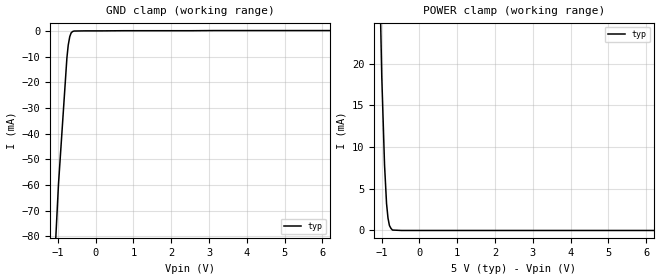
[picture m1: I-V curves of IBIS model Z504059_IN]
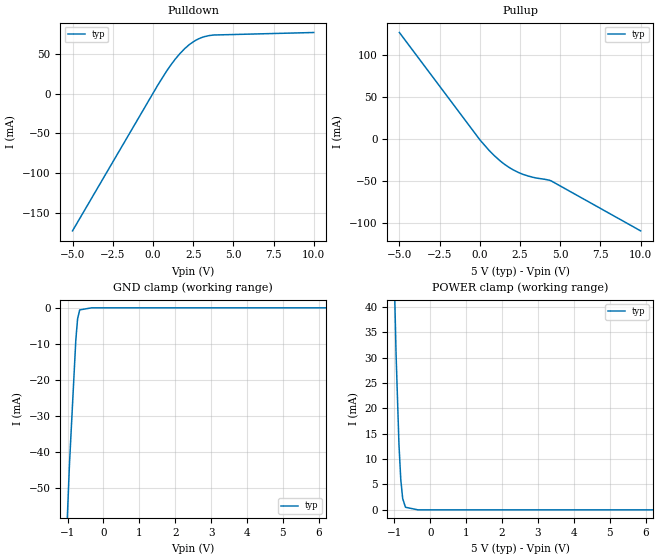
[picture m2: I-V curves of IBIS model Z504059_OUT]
| YOU ARE ONLY AUTHORIZED TO USE THIS SOFTWARE
| ACCORDING TO LICENSOR'S LICENSE RESTRICTIONS.
[IBIS Ver] 3.1
[File Name] mc54hc138aj.ibs
[File Rev] 2.0
[Source] Measured and created by ICX Technology
[Date] Friday 7/14/00 9:08:06 AM
[Copyright]
| (C) COPYRIGHT 1993-2000
| MENTOR GRAPHICS CORPORATION
| ICX STANDARD LIBRARY, ICX PROJECT MODELING,
| ICX CUSTOM MODELING, ICX VENDOR MODEL
| ALL RIGHTS RESERVED.
| THE FOLLOWING ARE TRADEMARKS OR SERVICE MARKS OF
| MENTOR GRAPHICS CORPORATION:ICX (R), ICX STANDARD
| LIBRARY(R), ICX PROJECT MODELING(R), ICX CUSTOM
| MODELING(R), qualityIBIS(TM), MODELVIEWER(TM),
| AND MODELEDITOR(TM)
| ALL COPIES OF SOFTWARE, INCLUDING BUT NOT LIMITED TO
| ANY MODIFICATIONS, ENHANCEMENTS OR DERIVATIVE WORKS,
| MUST CONTAIN ALL MENTOR GRAPHICS CORPORATION'S
| NOTICES AND LEGENDS, INCLUDING THOSE EMBEDDED IN
| SOFTWARE AND THOSE AFFIXED TO SOFTWARE MEDIUM
| AND CONTAINER, AS RECEIVED FROM MENTOR GRAPHICS
| CORPORATION.
|  ZAP Model Builder 2.7
[Component] MC54HC138AJ
[Manufacturer] OnSemiconductor
[Package]
| variable   typ   min   max
R_pkg  .212ohms NA NA
L_pkg  4.758nH NA NA
C_pkg  1.944pF NA NA
[Pin] signal_name  model_name  R_pin  L_pin C_pin
1 A0 Z504059_IN .224 7.258n 2.683p
2 A1 Z504059_IN .216 5.258n 2.19p
3 A2 Z504059_IN .208 3.758n 1.697p
4 CS2 Z504059_IN .2 2.758n 1.204p
5 CS3 Z504059_IN .2 2.758n 1.204p
6 CS1 Z504059_IN .208 3.758n 1.697p
7 Y7 Z504059_OUT .216 5.258n 2.19p
8 GND GND .224 7.258n 2.683p
9 Y6 Z504059_OUT .224 7.258n 2.683p
10 Y5 Z504059_OUT .216 5.258n 2.19p
11 Y4 Z504059_OUT .208 3.758n 1.697p
12 Y3 Z504059_OUT .2 2.758n 1.204p
13 Y2 Z504059_OUT .2 2.758n 1.204p
14 Y1 Z504059_OUT .208 3.758n 1.697p
15 Y0 Z504059_OUT .216 5.258n 2.19p
16 VCC POWER .224 7.258n 2.683p
| Models and submodels in the file (2): Z504059_IN (Input), Z504059_OUT (Output)
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| (C) COPYRIGHT 1993-2000
| MENTOR GRAPHICS CORPORATION
| ICX STANDARD LIBRARY, ICX PROJECT MODELING,
| ICX CUSTOM MODELING, ICX VENDOR MODEL
| ALL RIGHTS RESERVED.
| THE FOLLOWING ARE TRADEMARKS OR SERVICE MARKS OF
| MENTOR GRAPHICS CORPORATION:ICX (R), ICX STANDARD
| LIBRARY(R), ICX PROJECT MODELING(R), ICX CUSTOM
| MODELING(R), qualityIBIS(TM), MODELVIEWER(TM),
| AND MODELEDITOR(TM)
| ALL COPIES OF SOFTWARE, INCLUDING BUT NOT LIMITED TO
| ANY MODIFICATIONS, ENHANCEMENTS OR DERIVATIVE WORKS,
| MUST CONTAIN ALL MENTOR GRAPHICS CORPORATION'S
| NOTICES AND LEGENDS, INCLUDING THOSE EMBEDDED IN
| SOFTWARE AND THOSE AFFIXED TO SOFTWARE MEDIUM
| AND CONTAINER, AS RECEIVED FROM MENTOR GRAPHICS
| CORPORATION.
| Model Application Version 1.89 2/18/99.
[Model] Z504059_IN
Model_type Input
Vinl = 1.000V
Vinh = 3.500V
C_comp 4.000pF NA NA
| variable typ   min   max
[Voltage Range] 5.000V NA NA
[GND Clamp Reference] 0.000V NA NA
[POWER Clamp Reference] 5.000V NA NA
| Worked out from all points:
|   GND clamp passes 1 mA (typ) near -0.66 V on its own axis
|   POWER clamp passes 1 mA (typ) near -0.81 V on its own axis
[GND Clamp]
-5V       -1.459A    NA         NA
-1.06V    -82.37mA   NA         NA
-983.2mV  -59.83mA   NA         NA
-760.6mV  -10.5mA    NA         NA
-725.5mV  -5.477mA   NA         NA
-684.3mV  -2.119mA   NA         NA
-647.1mV  -656uA     NA         NA
-609.9mV  -145.2uA   NA         NA
748.3mV   177uA      NA         NA
10V       237.9uA    NA         NA
[POWER Clamp]
-5V       1.423A     NA         NA
-1.074V   35.49mA    NA         NA
-995mV    18.44mA    NA         NA
-922mV    7.865mA    NA         NA
-869mV    3.238mA    NA         NA
-831mV    1.503mA    NA         NA
-793mV    599.3uA    NA         NA
-752mV    249.5uA    NA         NA
-712mV    52.61uA    NA         NA
10V       0A         NA         NA
| (C) COPYRIGHT 1993-2000
| MENTOR GRAPHICS CORPORATION
| ICX STANDARD LIBRARY, ICX PROJECT MODELING,
| ICX CUSTOM MODELING, ICX VENDOR MODEL
| ALL RIGHTS RESERVED.
| THE FOLLOWING ARE TRADEMARKS OR SERVICE MARKS OF
| MENTOR GRAPHICS CORPORATION:ICX (R), ICX STANDARD
| LIBRARY(R), ICX PROJECT MODELING(R), ICX CUSTOM
| MODELING(R), qualityIBIS(TM), MODELVIEWER(TM),
| AND MODELEDITOR(TM)
| ALL COPIES OF SOFTWARE, INCLUDING BUT NOT LIMITED TO
| ANY MODIFICATIONS, ENHANCEMENTS OR DERIVATIVE WORKS,
| MUST CONTAIN ALL MENTOR GRAPHICS CORPORATION'S
| NOTICES AND LEGENDS, INCLUDING THOSE EMBEDDED IN
| SOFTWARE AND THOSE AFFIXED TO SOFTWARE MEDIUM
| AND CONTAINER, AS RECEIVED FROM MENTOR GRAPHICS
| CORPORATION.
| Model Application Version 1.89 2/18/99.
[Model] Z504059_OUT
Model_type Output
Vref=0.000V
Rref=500.0Mohms
Cref=50.00pF
Vmeas=2.500V
C_comp 8.000pF NA NA
| variable typ   min   max
[Voltage Range] 5.000V NA NA
[POWER Clamp Reference] 5.000V NA NA
[Pullup Reference] 5.000V NA NA
[Pulldown Reference] 0.000V NA NA
[GND Clamp Reference] 0.000V NA NA
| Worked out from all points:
|   slope of the pulldown table from 0 to 0.75 V, typ, clamps not added: 30.3 ohm
|   slope of the pullup table from 0 to 0.75 V, typ, clamps not added: 46.8 ohm
|   GND clamp passes 1 mA (typ) near -0.67 V on its own axis
|   POWER clamp passes 1 mA (typ) near -0.72 V on its own axis
[GND Clamp]
-5V       -1.588A    NA         NA
-1.04V    -66.11mA   NA         NA
-947.2mV  -43.22mA   NA         NA
-771.5mV  -8.964mA   NA         NA
-722.2mV  -3.075mA   NA         NA
-663.3mV  -587uA     NA         NA
-331.6mV  0A         NA         NA
10V       0A         NA         NA
[Pulldown]
-5V       -172.4mA   NA         NA
295.2mV   10.28mA    NA         NA
835.1mV   27.62mA    NA         NA
1.379V    42.93mA    NA         NA
1.982V    56.43mA    NA         NA
2.275V    61.61mA    NA         NA
2.668V    66.88mA    NA         NA
3.066V    70.52mA    NA         NA
3.74V     73.34mA    NA         NA
10V       76.58mA    NA         NA
[Pullup]
-5V       126.7mA    NA         NA
20mV      -1.184mA   NA         NA
569mV     -13.19mA   NA         NA
1.27V     -25.94mA   NA         NA
2.098V    -36.75mA   NA         NA
2.69V     -41.91mA   NA         NA
3.267V    -45.2mA    NA         NA
4.422V    -49.45mA   NA         NA
10V       -109mA     NA         NA
[POWER Clamp]
-5V       1.569A     NA         NA
-1.014V   48.35mA    NA         NA
-956mV    30.65mA    NA         NA
-875mV    12.81mA    NA         NA
-825mV    6.013mA    NA         NA
-772mV    2.223mA    NA         NA
-694mV    510.7uA    NA         NA
-347mV    0A         NA         NA
10V       0A         NA         NA
[Ramp]
| variable typ min max
dV/dt_r 2.769/3.700n NA NA
dV/dt_f 2.769/4.016n NA NA
R_load = 500.0Ohms
